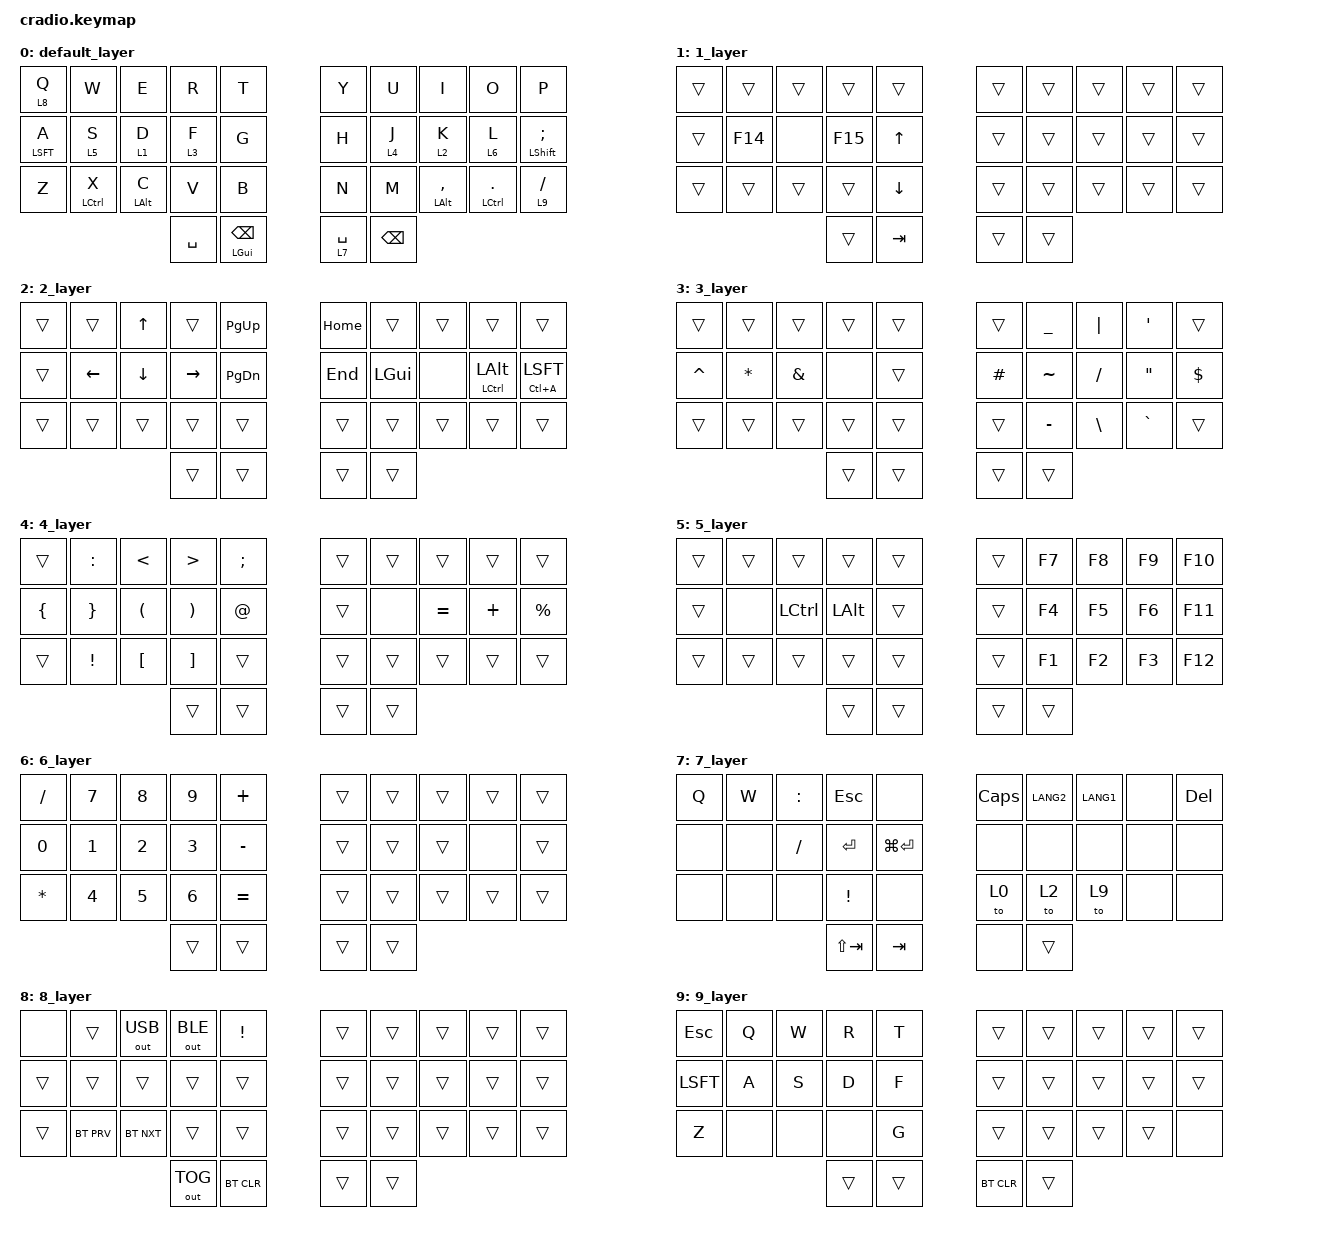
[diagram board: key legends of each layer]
/*
 * Copyright (c) 2020 The ZMK Contributors
 *
 * SPDX-License-Identifier: MIT
 */

#include <behaviors.dtsi>
#include <dt-bindings/zmk/keys.h>
#include <dt-bindings/zmk/bt.h>
#include <dt-bindings/zmk/outputs.h>

&mt {
    tapping-term-ms = <400>;
};

/ { 
    keymap {
        compatible = "zmk,keymap";
                
           default_layer {
        // ----------------------------------------------------------------------------------------------------------------------------------
        // | MO(8) Q |    W    |    E    |    R    |    T      |  |    Y        |    U    |    I    |    O    |    P     |
        // | LSFT A  | MO(5) S | MO(1) D | MO(3) F |    G      |  |    H        | MO(4) J | MO(2) K | MO(6) L |  LSHFT ; |
        // |    Z    | LCTRL X | LALT C  |    V    |    B      |  |    N        |    M    | LALT ,  | LCTRL . |  MO(9) / |
        //                               |  SPACE  | LGUI BSPC |  | MO(7) SPACE |  BSPC   |
        bindings = <
        &lt 8 Q     &kp W        &kp E       &kp R      &kp T          &kp Y        &kp U     &kp I          &kp O          &kp P 
        &mt LSFT A  &lt 5 S      &lt 1 D     &lt 3 F    &kp G          &kp H        &lt 4 J   &lt 2 K        &lt 6 L        &mt LSHFT SEMI
        &kp Z       &mt LCTRL X  &mt LALT C  &kp V      &kp B          &kp N        &kp M     &mt LALT CMMA  &mt LCTRL DOT  &lt 9 SLASH
                                             &kp SPACE  &mt LGUI BSPC  &lt 7 SPACE  &kp BSPC
        >;
        };

           1_layer {
        // ----------------------------------------------------------------------------------------------------------------------------------
        // |  trans  |  trans  |  trans  |  trans  |  trans  |  |  trans  |  trans  |  trans  |  trans  |  trans  |
        // |  trans  |   F14   |  none   |   F15   |    UP   |  |  trans  |  trans  |  trans  |  trans  |  trans  |
        // |  trans  |  trans  |  trans  |  trans  |  DOWN   |  |  trans  |  trans  |  trans  |  trans  |  trans  |
        //                               |  trans  |   TAB   |  |  trans  |  trans  |
        bindings = <
        &trans      &trans      &trans      &trans      &trans      &trans      &trans      &trans      &trans      &trans
        &trans      &kp F14     &none       &kp F15     &kp UP      &trans      &trans      &trans      &trans      &trans
        &trans      &trans      &trans      &trans      &kp DOWN    &trans      &trans      &trans      &trans      &trans
                                            &trans      &kp TAB     &trans      &trans
        >;
        };

           2_layer {
        // ----------------------------------------------------------------------------------------------------------------------------------
        // |  trans  |  trans  |   UP    |  trans  |  PG_UP  |  |  HOME   |  trans  |  trans  |  trans       |  trans       |
        // |  trans  |  LEFT   |  DOWN   |  RIGHT  |  PG_DN  |  |   END   |  LGUI   |  none   |  LCTRL LALT  |  LC(A) LSFT  |
        // |  trans  |  trans  |  trans  |  trans  |  trans  |  |  trans  |  trans  |  trans  |  trans       |  trans       |
        //                               |  trans  |  trans  |  |  trans  |  trans  |
        bindings = <
        &trans      &trans      &kp UP      &trans      &kp PG_UP      &kp HOME    &trans      &trans      &trans          &trans
        &trans      &kp LEFT    &kp DOWN    &kp RIGHT   &kp PG_DN      &kp END     &kp LGUI    &none       &mt LCTRL LALT  &mt LC(A) LSFT
        &trans      &trans      &trans      &trans      &trans         &trans      &trans      &trans      &trans          &trans
                                            &trans      &trans         &trans      &trans
        >;
        };

           3_layer {
        // ----------------------------------------------------------------------------------------------------------------------------------
        // |  trans  |  trans  |  trans  |  trans  |  trans  |  |  trans  |    _    |    |    |    '    |  trans  |
        // |    ^    |    *    |    &    |  none   |  trans  |  |    #    |    ~    |    /    |    "    |    $    |
        // |  trans  |  trans  |  trans  |  trans  |  trans  |  |  trans  |    -    |    \    |    `    |  trans  |
        //                               |  trans  |  trans  |  |  trans  |  trans  |
        bindings = <
        &trans      &trans      &trans      &trans      &trans         &trans      &kp UNDER   &kp PIPE    &kp SQT     &trans
        &kp CARET   &kp ASTRK   &kp AMPS    &none       &trans         &kp HASH    &kp TILDE   &kp SLASH   &kp DQT     &kp DLLR
        &trans      &trans      &trans      &trans      &trans         &trans      &kp MINUS   &kp BSLH    &kp GRAVE   &trans
                                            &trans      &trans         &trans      &trans
        >;
        };

           4_layer {
        // ----------------------------------------------------------------------------------------------------------------------------------
        // |  trans  |    :    |    <    |    >    |    ;    |  |  trans  |  trans  |  trans  |  trans  |  trans  |
        // |    {    |    }    |    (    |    )    |    @    |  |  trans  |  none   |    =    |    +    |    %    |
        // |  trans  |    !    |    [    |    ]    |  trans  |  |  trans  |  trans  |  trans  |  trans  |  trans  |
        //                               |  trans  |  trans  |  |  trans  |  trans  |
        bindings = <
        &trans      &kp COLON   &kp LT      &kp GT      &kp SEMI       &trans      &trans      &trans      &trans      &trans
        &kp LBRC    &kp RBRC    &kp LPAR    &kp RPAR    &kp AT         &trans      &none       &kp EQUAL   &kp PLUS    &kp PRCNT
        &trans      &kp EXCL    &kp LBKT    &kp RBKT    &trans         &trans      &trans      &trans      &trans      &trans
                                            &trans      &trans         &trans      &trans
        >;
        };

           5_layer {
        // ----------------------------------------------------------------------------------------------------------------------------------
        // |  trans  |  trans  |  trans  |  trans  |  trans  |  |  trans  |   F7    |   F8    |   F9    |   F10   |
        // |  trans  |  none   |  LCTRL  |  LALT   |  trans  |  |  trans  |   F4    |   F5    |   F6    |   F11   |
        // |  trans  |  trans  |  trans  |  trans  |  trans  |  |  trans  |   F1    |   F2    |   F3    |   F12   |
        //                               |  trans  |  trans  |  |  trans  |  trans  |
        bindings = <
        &trans      &trans      &trans          &trans      &trans         &trans      &kp F7      &kp F8      &kp F9      &kp F10
        &trans      &none       &kp LCTRL       &kp LALT    &trans         &trans      &kp F4      &kp F5      &kp F6      &kp F11
        &trans      &trans      &trans          &trans      &trans         &trans      &kp F1      &kp F2      &kp F3      &kp F12
                                                &trans      &trans         &trans      &trans
        >;
        };

           6_layer {
        // ----------------------------------------------------------------------------------------------------------------------------------
        // |    /    |    7    |    8    |    9    |    +    |  |  trans  |  trans  |  trans  |  trans  |  trans  |
        // |    0    |    1    |    2    |    3    |    -    |  |  trans  |  trans  |  trans  |  none   |  trans  |
        // |    *    |    4    |    5    |    6    |    =    |  |  trans  |  trans  |  trans  |  trans  |  trans  |
        //                               |  trans  |  trans  |  |  trans  |  trans  |
        bindings = <
        &kp SLASH   &kp NUM_7   &kp NUM_8   &kp NUM_9   &kp PLUS       &trans      &trans      &trans      &trans      &trans
        &kp NUM_0   &kp NUM_1   &kp NUM_2   &kp NUM_3   &kp MINUS      &trans      &trans      &trans      &none       &trans
        &kp ASTRK   &kp NUM_4   &kp NUM_5   &kp NUM_6   &kp EQUAL      &trans      &trans      &trans      &trans      &trans
                                            &trans      &trans         &trans      &trans
        >;
        };

           7_layer {
        // ----------------------------------------------------------------------------------------------------------------------------------
        // |    Q    |    W    |    :    |    ESC    |    none     |  |  CAPS   |  HANJA  | HANGEUL |  none   |   DEL   |
        // |  none   |  none   |    /    |   ENTER   | SHIFT+ENTER |  |  none   |  none   |  none   |  none   |  none   |
        // |  none   |  none   |  none   |     !     |    none     |  |  TO(0)  |  TO(2)  |  TO(9)  |  none   |  none   |
        //                               | SHIFT+TAB |     TAB     |  |  none   |  trans  |
        bindings = <
        &kp Q       &kp W       &kp COLON  &kp ESC     &none          &kp CAPS     &kp LANG2    &kp LANG1    &none    &kp DEL
        &none       &none       &kp FSLH   &kp ENTER   &kp LG(ENTER)  &none        &none        &none        &none    &none
        &none       &none       &none      &kp EXCL    &none          &to 0        &to 2        &to 9        &none    &none
                                           &kp LS(TAB) &kp TAB        &none        &trans
        >;
        };
      
           8_layer {
        // ----------------------------------------------------------------------------------------------------------------------------------
        // |  none   |  trans  |  OUT_USB  |  OUT_BLE  |    !    |  |  trans  |  trans  |  trans  |  trans  |  trans  |
        // |  trans  |  trans  |  trans    |  trans    |  trans  |  |  trans  |  trans  |  trans  |  trans  |  trans  |
        // |  trans  |  BT_PRV |  BT_NXT   |  trans    |  trans  |  |  trans  |  trans  |  trans  |  trans  |  trans  |
        //                                 |  OUT_TOG  |  BT_CLR |  |  trans  |  trans  |
        bindings = <
        &none       &trans      &out OUT_USB  &out OUT_BLE  &kp EXCL       &trans      &trans      &trans      &trans      &trans
        &trans      &trans      &trans        &trans        &trans         &trans      &trans      &trans      &trans      &trans
        &trans      &bt BT_PRV  &bt BT_NXT    &trans        &trans         &trans      &trans      &trans      &trans      &trans
                                              &out OUT_TOG  &bt BT_CLR     &trans      &trans
        >;
        };
        
           9_layer {
        // ----------------------------------------------------------------------------------------------------------------------------------
        // |   ESC   |    Q    |    W    |    R    |    T    |  |  trans  |  trans  |  trans  |  trans  |  trans  |
        // |  LSFT   |    A    |    S    |    D    |    F    |  |  trans  |  trans  |  trans  |  trans  |  trans  |
        // |    Z    |  none   |  none   |  none   |    G    |  |  trans  |  trans  |  trans  |  trans  |  none   |
        //                               |  trans  |  trans  |  |  trans  |  trans  |
        bindings = <
        &kp ESC    &kp Q      &kp W      &kp R      &kp T         &trans     &trans     &trans     &trans     &trans
        &kp LSFT   &kp A      &kp S      &kp D      &kp F         &trans     &trans     &trans     &trans     &trans
        &kp Z      &none      &none      &none      &kp G         &trans     &trans     &trans     &trans     &none
                                         &trans     &trans        &bt BT_CLR     &trans
        >;
        };
        
        //    99_layer {
        // // ----------------------------------------------------------------------------------------------------------------------------------
        // // |  trans  |  trans  |  trans  |  trans  |  trans  |  |  trans  |  trans  |  trans  |  trans  |  trans  |
        // // |  trans  |  trans  |  trans  |  trans  |  trans  |  |  trans  |  trans  |  trans  |  trans  |  trans  |
        // // |  trans  |  trans  |  trans  |  trans  |  trans  |  |  trans  |  trans  |  trans  |  trans  |  trans  |
        // //                               |  trans  |  trans  |  |  trans  |  trans  |
        // bindings = <
        // &trans      &trans      &trans      &trans      &trans         &trans      &trans      &trans      &trans      &trans
        // &trans      &trans      &trans      &trans      &trans         &trans      &trans      &trans      &trans      &trans
        // &trans      &trans      &trans      &trans      &trans         &trans      &trans      &trans      &trans      &trans
        //                                     &trans      &trans         &trans      &trans
        // >;
        // };
        
    };
};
